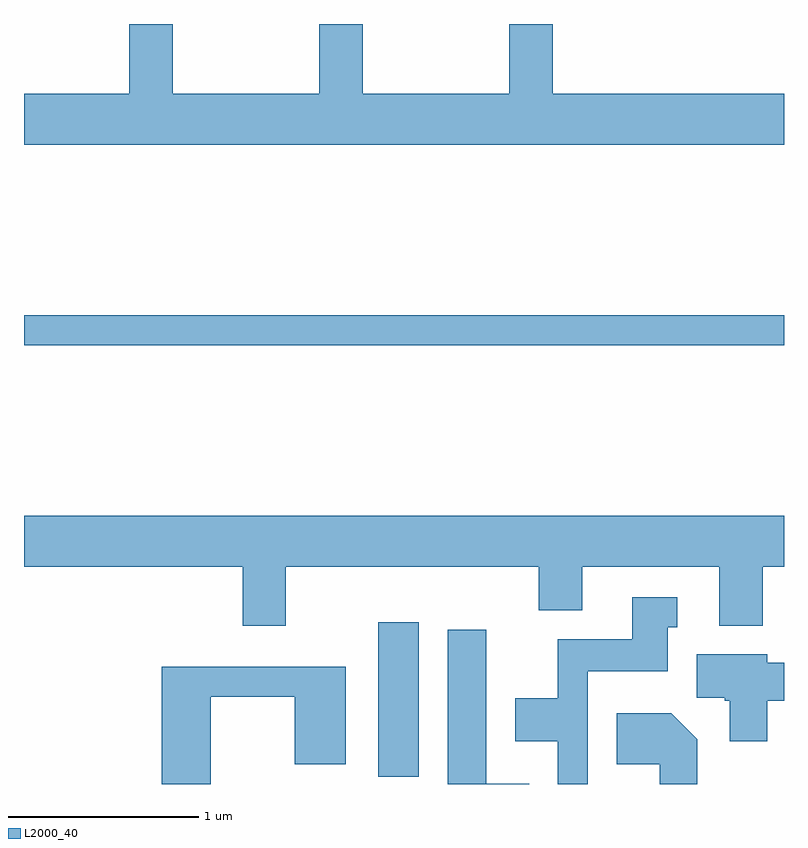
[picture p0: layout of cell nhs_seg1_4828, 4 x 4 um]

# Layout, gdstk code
import gdstk
lib = gdstk.Library(unit=1e-6, precision=1e-09)
def R(c, l, rs):  # rectangles x0, y0, x1, y1
    for r in rs: c.add(gdstk.rectangle(r[:2], r[2:], *l))
def P(c, l, *ps):  # polygons
    for p in ps: c.add(gdstk.Polygon(p, *l))
L2000_40 = (2000, 40)

nhs_seg1_4828 = lib.new_cell('nhs_seg1_4828')
R(nhs_seg1_4828, L2000_40, [(331.476,951.751,331.689,952.564), (329.611,954.021,333.611,954.179)])
P(nhs_seg1_4828, L2000_40, [(333.611,955.344),(332.394,955.344),(332.394,955.712),(332.166,955.712),(332.166,955.344),(331.394,955.344),(331.394,955.712),(331.166,955.712),(331.166,955.344),(330.394,955.344),(330.394,955.712),(330.166,955.712),(330.166,955.344),(329.611,955.344),(329.611,955.076),(333.611,955.076)],
  [(330.989,952.856),(332.321,952.856),(332.321,952.626),(332.549,952.626),(332.549,952.856),(333.271,952.856),(333.271,952.546),(333.499,952.546),(333.499,952.856),(333.611,952.856),(333.611,953.124),(329.611,953.124),(329.611,952.856),(330.761,952.856),(330.761,952.546),(330.989,952.546)],
  [(332.579,952.306),(332.999,952.306),(332.999,952.536),(333.048,952.536),(333.048,952.694),(332.811,952.694),(332.811,952.474),(332.421,952.474),(332.421,952.164),(332.196,952.164),(332.196,951.936),(332.421,951.936),(332.421,951.712),(332.579,951.712)],
  [(332.269,951.714),(332.044,951.714),(332.044,952.524),(331.841,952.524),(331.841,951.712),(332.269,951.712)],
  [(333.524,952.151),(333.611,952.151),(333.611,952.349),(333.524,952.349),(333.524,952.394),(333.151,952.394),(333.151,952.166),(333.3,952.166),(333.3,952.151),(333.326,952.151),(333.326,951.936),(333.524,951.936)],
  [(330.594,952.171),(331.036,952.171),(331.036,951.816),(331.304,951.816),(331.304,952.329),(330.336,952.329),(330.336,951.712),(330.594,951.712)],
  [(333.154,951.947),(333.017,952.084),(332.731,952.084),(332.731,951.816),(332.956,951.816),(332.956,951.712),(333.154,951.712)])

lib.write_gds('nhs_seg1_4828.gds')
